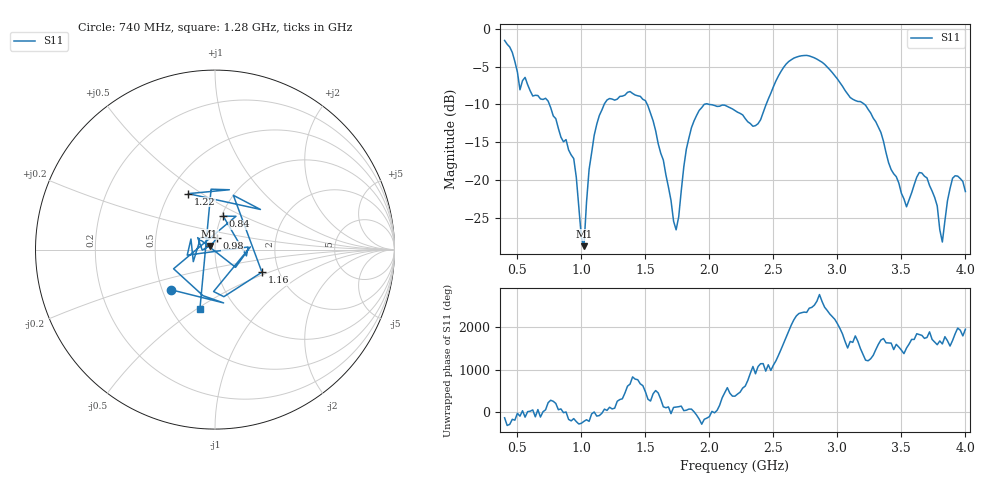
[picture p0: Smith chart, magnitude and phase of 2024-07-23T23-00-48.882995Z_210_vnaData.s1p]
!Created with skrf (http://scikit-rf.org).
# Hz S RI R 50.0
!freq ReS11 ImS11
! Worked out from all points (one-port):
!   181 points, 400 MHz to 4 GHz, reference 50 ohm
!   lowest |S11| = -28.8 dB at 1.02 GHz (marker M1), VSWR 1.08, Z = 47 + j1.95 ohm
!   |S11| at or under -10 dB: 1.514 GHz to 1.959 GHz (445.4 MHz wide, 25.6 % of centre); 1.997 GHz to 2.443 GHz (446.7 MHz wide, 20.1 % of centre); 3.212 GHz to end of sweep (the widest 3 of 4)
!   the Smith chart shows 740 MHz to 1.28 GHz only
!   S11 on the Smith chart (normalised r, x): 740 MHz: 0.55, -0.28; 840 MHz: 1.02, +0.39; 980 MHz: 1.01, +0.13; 1.16 GHz: 1.63, -0.45; 1.22 GHz: 0.62, +0.44; 1.28 GHz: 0.69, -0.52
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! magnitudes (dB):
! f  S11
! 400 MHz  -1.5
! 520 MHz  -8.1
! 740 MHz  -9.6
! 840 MHz  -14.3
! 860 MHz  -15.0
! 940 MHz  -17.2
! 980 MHz  -23.6
! 1.02 GHz  -28.8
! 1.06 GHz  -18.6
! 1.16 GHz  -10.7
! 1.22 GHz  -9.2
! 1.28 GHz  -9.3
! 1.3 GHz  -8.9
! 1.5 GHz  -9.5
! 1.72 GHz  -25.5
! 1.76 GHz  -24.9
! 1.82 GHz  -15.9
! 1.92 GHz  -10.8
! 2.2 GHz  -10.8
! 2.38 GHz  -12.6
! 2.66 GHz  -3.9
! 3.1 GHz  -9.1
! 3.3 GHz  -12.3
! 3.56 GHz  -22.6
! 3.7 GHz  -19.7
! 3.82 GHz  -28.2
! 3.9 GHz  -19.8
! 4 GHz  -21.5
